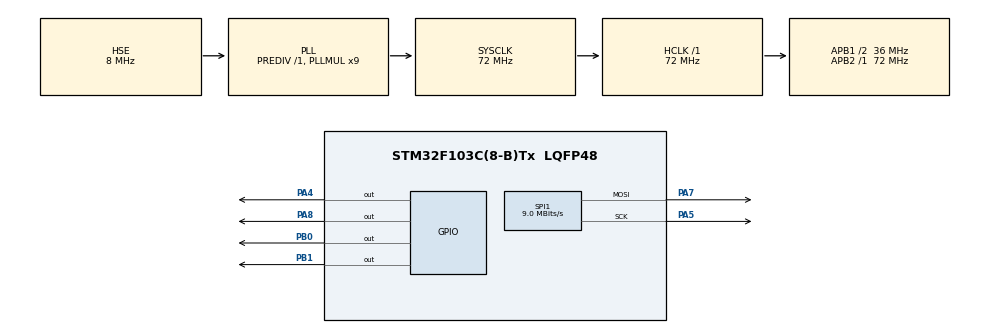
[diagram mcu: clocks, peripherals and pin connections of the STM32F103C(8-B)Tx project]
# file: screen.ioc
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Mcu.Family=STM32F1
Mcu.Name=STM32F103C(8-B)Tx
Mcu.Package=LQFP48
NVIC.PriorityGroup=NVIC_PRIORITYGROUP_4
PA13.Mode=Serial_Wire
PA13.Signal=SYS_JTMS-SWDIO
PA14.Mode=Serial_Wire
PA14.Signal=SYS_JTCK-SWCLK
PA4.GPIO_Speed=GPIO_SPEED_FREQ_HIGH
PA4.Signal=GPIO_Output
PA5.Mode=TX_Only_Simplex_Unidirect_Master
PA5.Signal=SPI1_SCK
PA7.Mode=TX_Only_Simplex_Unidirect_Master
PA7.Signal=SPI1_MOSI
PA8.Signal=GPIO_Output
PB0.GPIO_Speed=GPIO_SPEED_FREQ_HIGH
PB0.Signal=GPIO_Output
PB1.GPIO_Speed=GPIO_SPEED_FREQ_HIGH
PB1.Signal=GPIO_Output
PD0-OSC_IN.Mode=HSE-External-Oscillator
PD0-OSC_IN.Signal=RCC_OSC_IN
PD1-OSC_OUT.Mode=HSE-External-Oscillator
PD1-OSC_OUT.Signal=RCC_OSC_OUT
ProjectManager.HeapSize=0x200
ProjectManager.StackSize=0x400
ProjectManager.TargetToolchain=MDK-ARM V5.32
RCC.AHBFreq_Value=72000000
RCC.APB1CLKDivider=RCC_HCLK_DIV2
RCC.APB1Freq_Value=36000000
RCC.APB1TimFreq_Value=72000000
RCC.APB2Freq_Value=72000000
RCC.APB2TimFreq_Value=72000000
RCC.HCLKFreq_Value=72000000
RCC.PLLMUL=RCC_PLL_MUL9
RCC.PLLSourceVirtual=RCC_PLLSOURCE_HSE
RCC.SYSCLKFreq_VALUE=72000000
RCC.SYSCLKSource=RCC_SYSCLKSOURCE_PLLCLK
RCC.USBFreq_Value=72000000
SPI1.BaudRatePrescaler=SPI_BAUDRATEPRESCALER_8
SPI1.CLKPhase=SPI_PHASE_1EDGE
SPI1.CLKPolarity=SPI_POLARITY_LOW
SPI1.CalculateBaudRate=9.0 MBits/s
SPI1.Direction=SPI_DIRECTION_2LINES
SPI1.Mode=SPI_MODE_MASTER
SPI1.VirtualType=VM_MASTER
board=custom

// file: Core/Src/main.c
/* USER CODE BEGIN Header */
/**
  ******************************************************************************
  * @file           : main.c
  * @brief          : Main program body
  ******************************************************************************
  * @attention
  *
  * Copyright (c) 2026 STMicroelectronics.
  * All rights reserved.
  *
  * This software is licensed under terms that can be found in the LICENSE file
  * in the root directory of this software component.
  * If no LICENSE file comes with this software, it is provided AS-IS.
  *
  ******************************************************************************
  */
/* USER CODE END Header */
#include "main.h"

/* USER CODE BEGIN PD */
/* 引脚控制宏定�? */
#define OLED_RES_Clr() HAL_GPIO_WritePin(GPIOB, GPIO_PIN_1, GPIO_PIN_RESET)
#define OLED_RES_Set() HAL_GPIO_WritePin(GPIOB, GPIO_PIN_1, GPIO_PIN_SET)

#define OLED_DC_Clr()  HAL_GPIO_WritePin(GPIOB, GPIO_PIN_0, GPIO_PIN_RESET)
#define OLED_DC_Set()  HAL_GPIO_WritePin(GPIOB, GPIO_PIN_0, GPIO_PIN_SET)

#define OLED_CS_Clr()  HAL_GPIO_WritePin(GPIOA, GPIO_PIN_4, GPIO_PIN_RESET)
#define OLED_CS_Set()  HAL_GPIO_WritePin(GPIOA, GPIO_PIN_4, GPIO_PIN_SET)
/* USER CODE END PD */

SPI_HandleTypeDef hspi1;

void SystemClock_Config(void);
static void MX_GPIO_Init(void);
static void MX_SPI1_Init(void);

/* USER CODE BEGIN 0 */
// 发�?�字节函数：dat是数据，cmd�?0是指令，cmd�?1是数�?
void OLED_WR_Byte(uint8_t dat, uint8_t cmd)
{
    if(cmd) OLED_DC_Set(); // 如果是数据，DC引脚拉高
    else    OLED_DC_Clr(); // 如果是指令，DC引脚拉低

    OLED_CS_Clr(); // 选中屏幕
    // 使用硬件SPI1发�?�数据，等待时间设为100ms
    HAL_SPI_Transmit(&hspi1, &dat, 1, 100);
    OLED_CS_Set(); // 释放屏幕
}

// 屏幕初始化函�?
void OLED_Init(void)
{
    OLED_RES_Clr(); // 硬件复位
    HAL_Delay(200);
    OLED_RES_Set();

    // 以下是SSD1306屏幕的�?�用启动指令
    OLED_WR_Byte(0xAE,0); // 关闭显示
    OLED_WR_Byte(0x00,0); // 设置起始列低地址
    OLED_WR_Byte(0x10,0); // 设置起始列高地址
    OLED_WR_Byte(0x40,0); // 设置起始�?
    OLED_WR_Byte(0x81,0); // 设置对比�?
    OLED_WR_Byte(0xCF,0); // 亮度电荷泵设�?
    OLED_WR_Byte(0xA1,0); // 段重映射（左右反转）
    OLED_WR_Byte(0xC8,0); // 行扫描顺序（上下反转�?
    OLED_WR_Byte(0xA6,0); // 正常显示
    OLED_WR_Byte(0xAF,0); // �?启显�?
}
/* USER CODE END 0 */

int main(void)
{

  /* MCU Configuration--------------------------------------------------------*/

  /* Reset of all peripherals, Initializes the Flash interface and the Systick. */
  HAL_Init();

  /* Configure the system clock */
  SystemClock_Config();

  /* Initialize all configured peripherals */
  MX_GPIO_Init();
  MX_SPI1_Init();
  /* USER CODE BEGIN 2 */
OLED_Init(); // 第一步：启动屏幕

// 为了测试屏幕是否亮了，我们直接发�?组白光试�?
for(int i=0; i<1024; i++)
{
    OLED_WR_Byte(0xFF, 1); // 填充全白像素
}
  /* USER CODE END 2 */

  /* Infinite loop */
  while (1)
  {

    /* USER CODE BEGIN 3 */
		HAL_GPIO_WritePin(GPIOA, GPIO_PIN_8, GPIO_PIN_RESET); // 假设你的 LED 在 PC13
		// 测试控制引脚是否有电平跳�?
    HAL_GPIO_TogglePin(GPIOB, GPIO_PIN_0); // 翻转DC
    HAL_GPIO_TogglePin(GPIOB, GPIO_PIN_1); // 翻转RES
    HAL_GPIO_TogglePin(GPIOA, GPIO_PIN_4); // 翻转CS
    HAL_Delay(500); // 0.5秒闪烁一�?

  }
  /* USER CODE END 3 */
}

void SystemClock_Config(void)
{
  RCC_OscInitTypeDef RCC_OscInitStruct = {0};
  RCC_ClkInitTypeDef RCC_ClkInitStruct = {0};

  /** Initializes the RCC Oscillators according to the specified parameters
  * in the RCC_OscInitTypeDef structure.
  */
  RCC_OscInitStruct.OscillatorType = RCC_OSCILLATORTYPE_HSE;
  RCC_OscInitStruct.HSEState = RCC_HSE_ON;
  RCC_OscInitStruct.HSEPredivValue = RCC_HSE_PREDIV_DIV1;
  RCC_OscInitStruct.HSIState = RCC_HSI_ON;
  RCC_OscInitStruct.PLL.PLLState = RCC_PLL_ON;
  RCC_OscInitStruct.PLL.PLLSource = RCC_PLLSOURCE_HSE;
  RCC_OscInitStruct.PLL.PLLMUL = RCC_PLL_MUL9;
  if (HAL_RCC_OscConfig(&RCC_OscInitStruct) != HAL_OK)
  {
    Error_Handler();
  }

  /** Initializes the CPU, AHB and APB buses clocks
  */
  RCC_ClkInitStruct.ClockType = RCC_CLOCKTYPE_HCLK|RCC_CLOCKTYPE_SYSCLK
                              |RCC_CLOCKTYPE_PCLK1|RCC_CLOCKTYPE_PCLK2;
  RCC_ClkInitStruct.SYSCLKSource = RCC_SYSCLKSOURCE_PLLCLK;
  RCC_ClkInitStruct.AHBCLKDivider = RCC_SYSCLK_DIV1;
  RCC_ClkInitStruct.APB1CLKDivider = RCC_HCLK_DIV2;
  RCC_ClkInitStruct.APB2CLKDivider = RCC_HCLK_DIV1;

  if (HAL_RCC_ClockConfig(&RCC_ClkInitStruct, FLASH_LATENCY_2) != HAL_OK)
  {
    Error_Handler();
  }
}

static void MX_SPI1_Init(void)
{

  /* SPI1 parameter configuration*/
  hspi1.Instance = SPI1;
  hspi1.Init.Mode = SPI_MODE_MASTER;
  hspi1.Init.Direction = SPI_DIRECTION_2LINES;
  hspi1.Init.DataSize = SPI_DATASIZE_8BIT;
  hspi1.Init.CLKPolarity = SPI_POLARITY_LOW;
  hspi1.Init.CLKPhase = SPI_PHASE_1EDGE;
  hspi1.Init.NSS = SPI_NSS_SOFT;
  hspi1.Init.BaudRatePrescaler = SPI_BAUDRATEPRESCALER_8;
  hspi1.Init.FirstBit = SPI_FIRSTBIT_MSB;
  hspi1.Init.TIMode = SPI_TIMODE_DISABLE;
  hspi1.Init.CRCCalculation = SPI_CRCCALCULATION_DISABLE;
  hspi1.Init.CRCPolynomial = 10;
  if (HAL_SPI_Init(&hspi1) != HAL_OK)
  {
    Error_Handler();
  }

}

static void MX_GPIO_Init(void)
{
  GPIO_InitTypeDef GPIO_InitStruct = {0};

  /* GPIO Ports Clock Enable */
  __HAL_RCC_GPIOD_CLK_ENABLE();
  __HAL_RCC_GPIOA_CLK_ENABLE();
  __HAL_RCC_GPIOB_CLK_ENABLE();

  /*Configure GPIO pin Output Level */
  HAL_GPIO_WritePin(GPIOA, GPIO_PIN_4|GPIO_PIN_8, GPIO_PIN_RESET);

  /*Configure GPIO pin Output Level */
  HAL_GPIO_WritePin(GPIOB, GPIO_PIN_0|GPIO_PIN_1, GPIO_PIN_RESET);

  /*Configure GPIO pin : PA4 */
  GPIO_InitStruct.Pin = GPIO_PIN_4;
  GPIO_InitStruct.Mode = GPIO_MODE_OUTPUT_PP;
  GPIO_InitStruct.Pull = GPIO_NOPULL;
  GPIO_InitStruct.Speed = GPIO_SPEED_FREQ_HIGH;
  HAL_GPIO_Init(GPIOA, &GPIO_InitStruct);

  /*Configure GPIO pins : PB0 PB1 */
  GPIO_InitStruct.Pin = GPIO_PIN_0|GPIO_PIN_1;
  GPIO_InitStruct.Mode = GPIO_MODE_OUTPUT_PP;
  GPIO_InitStruct.Pull = GPIO_NOPULL;
  GPIO_InitStruct.Speed = GPIO_SPEED_FREQ_HIGH;
  HAL_GPIO_Init(GPIOB, &GPIO_InitStruct);

  /*Configure GPIO pin : PA8 */
  GPIO_InitStruct.Pin = GPIO_PIN_8;
  GPIO_InitStruct.Mode = GPIO_MODE_OUTPUT_PP;
  GPIO_InitStruct.Pull = GPIO_NOPULL;
  GPIO_InitStruct.Speed = GPIO_SPEED_FREQ_LOW;
  HAL_GPIO_Init(GPIOA, &GPIO_InitStruct);

}

void Error_Handler(void)
{
  __disable_irq();
  while (1)
  {
  }
}
